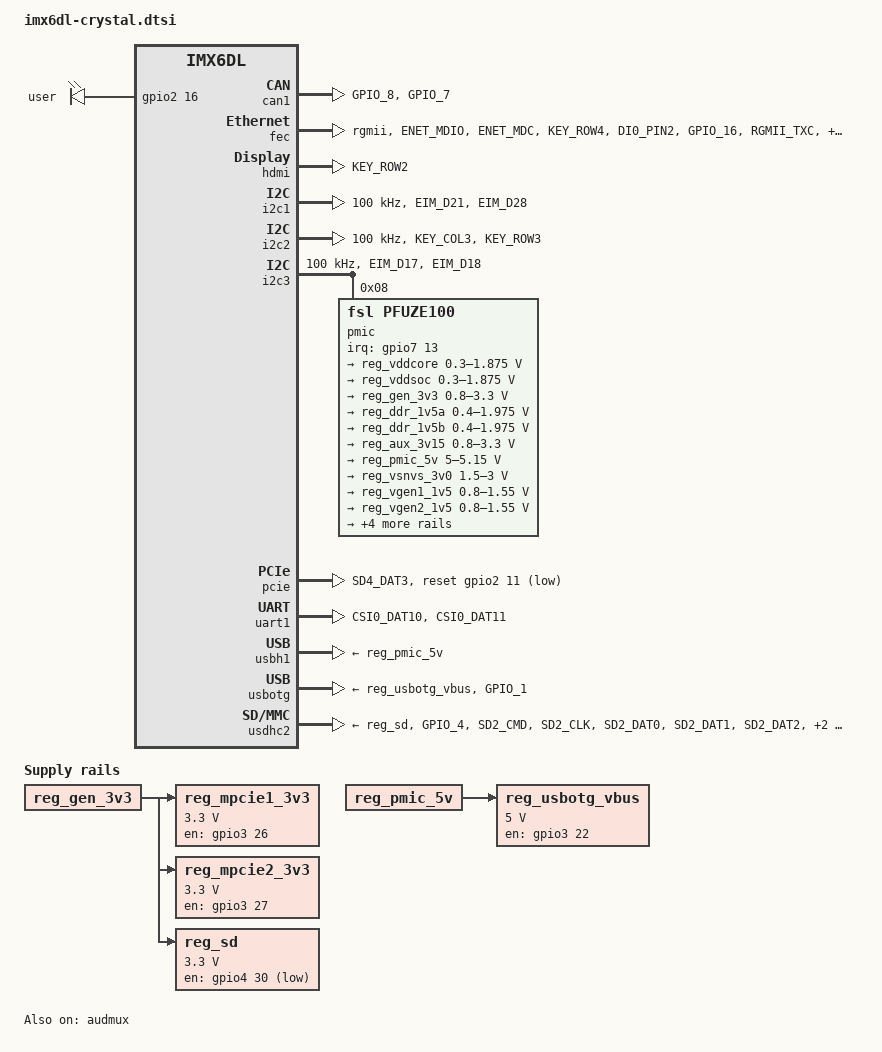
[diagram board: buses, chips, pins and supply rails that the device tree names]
/*
 * Device Tree file for Vitro Crystal 2 board
 * Copyright (C) 2017 Maciej Pijanowski <maciej.pijanowski@3mdeb.com>
 * Based on work by Russell King and Rabeeh Khoury for Hummingboard
 *
 * This file is dual-licensed: you can use it either under the terms
 * of the GPL or the X11 license, at your option. Note that this dual
 * licensing only applies to this file, and not this project as a
 * whole.
 *
 *  a) This file is free software; you can redistribute it and/or
 *     modify it under the terms of the GNU General Public License as
 *     published by the Free Software Foundation; either version 2 of the
 *     License.
 *
 *     This file is distributed in the hope that it will be useful
 *     but WITHOUT ANY WARRANTY; without even the implied warranty of
 *     MERCHANTABILITY or FITNESS FOR A PARTICULAR PURPOSE.  See the
 *     GNU General Public License for more details.
 *
 * Or, alternatively
 *
 *  b) Permission is hereby granted, free of charge, to any person
 *     obtaining a copy of this software and associated documentation
 *     files (the "Software"), to deal in the Software without
 *     restriction, including without limitation the rights to use
 *     copy, modify, merge, publish, distribute, sublicense, and/or
 *     sell copies of the Software, and to permit persons to whom the
 *     Software is furnished to do so, subject to the following
 *     conditions:
 *
 *     The above copyright notice and this permission notice shall be
 *     included in all copies or substantial portions of the Software.
 *
 *     THE SOFTWARE IS PROVIDED , WITHOUT WARRANTY OF ANY KIND
 *     EXPRESS OR IMPLIED, INCLUDING BUT NOT LIMITED TO THE WARRANTIES
 *     OF MERCHANTABILITY, FITNESS FOR A PARTICULAR PURPOSE AND
 *     NONINFRINGEMENT. IN NO EVENT SHALL THE AUTHORS OR COPYRIGHT
 *     HOLDERS BE LIABLE FOR ANY CLAIM, DAMAGES OR OTHER LIABILITY
 *     WHETHER IN AN ACTION OF CONTRACT, TORT OR OTHERWISE, ARISING
 *     FROM, OUT OF OR IN CONNECTION WITH THE SOFTWARE OR THE USE OR
 *     OTHER DEALINGS IN THE SOFTWARE.
 */
#include <dt-bindings/gpio/gpio.h>
#include <dt-bindings/interrupt-controller/irq.h>

/ {
	chosen {
		stdout-path = &uart1;
	};

	leds {
		compatible = "gpio-leds";
		pinctrl-names = "default";
		pinctrl-0 = <&pinctrl_crystal_gpio_led>;

		led0: user1 {
			label = "user";
			gpios = <&gpio2 16 GPIO_ACTIVE_HIGH>;
			default-state = "on";
			linux,default-trigger = "heartbeat";
		};
	};

	regulators {
		compatible = "simple-bus";
		#address-cells = <1>;
		#size-cells = <0>;

		reg_mpcie1_3v3: regulator-mpcie1-3v3 {
			compatible = "regulator-fixed";
			enable-active-high;
			gpio = <&gpio3 26 GPIO_ACTIVE_HIGH>;
			pinctrl-names = "default";
			pinctrl-0 = <&pinctrl_crystal_reg_mpcie1>;
			regulator-max-microvolt = <3300000>;
			regulator-min-microvolt = <3300000>;
			regulator-name = "reg_mpcie1_3v3";
			regulator-always-on;
			vin-supply = <&reg_gen_3v3>;
		};

		reg_mpcie2_3v3: regulator-mpcie2-3v3 {
			compatible = "regulator-fixed";
			enable-active-high;
			gpio = <&gpio3 27 GPIO_ACTIVE_HIGH>;
			pinctrl-names = "default";
			pinctrl-0 = <&pinctrl_crystal_reg_mpcie2>;
			regulator-max-microvolt = <3300000>;
			regulator-min-microvolt = <3300000>;
			regulator-name = "reg_mpcie2_3v3";
			regulator-always-on;
			vin-supply = <&reg_gen_3v3>;
		};

		reg_usbotg_vbus: regulator-usbotg-vbus {
			compatible = "regulator-fixed";
			enable-active-high;
			gpio = <&gpio3 22 GPIO_ACTIVE_HIGH>;
			pinctrl-names = "default";
			pinctrl-0 = <&pinctrl_crystal_reg_usbotg>;
			regulator-max-microvolt = <5000000>;
			regulator-min-microvolt = <5000000>;
			regulator-name = "reg_usbotg_vbus";
			vin-supply = <&reg_pmic_5v>;
		};

		reg_sd: regulator-sd {
			compatible = "regulator-fixed";
			/* SD2_PWR_EN << PWM2_OUT << DISP0_DAT9(GPIO4_IO30) */
			gpio = <&gpio4 30 GPIO_ACTIVE_HIGH>;
			pinctrl-names = "default";
			pinctrl-0 = <&pinctrl_crystal_reg_sd>;
			regulator-boot-on;
			regulator-max-microvolt = <3300000>;
			regulator-min-microvolt = <3300000>;
			regulator-name = "reg_sd";
			startup-delay-us = <1000>;
			vin-supply = <&reg_gen_3v3>;
		};
	};
};

&audmux {
	status = "okay";
};

&can1 {
      pinctrl-names = "default";
      pinctrl-0 = <&pinctrl_crystal_flexcan1>;
      status = "okay";
};

&fec {
	pinctrl-names = "default";
	pinctrl-0 = <&pinctrl_crystal_enet_ar8035>;
	phy-mode = "rgmii";
	phy-reset-duration = <2>;
	phy-reset-gpios = <&gpio4 15 GPIO_ACTIVE_LOW>;
	status = "okay";
};

&hdmi {
	pinctrl-names = "default";
	pinctrl-0 = <&pinctrl_crystal_hdmi>;
	ddc-i2c-bus = <&i2c2>;
	status = "okay";
};

&i2c1 {
	clock-frequency = <100000>;
	pinctrl-names = "default";
	pinctrl-0 = <&pinctrl_crystal_i2c1>;
	status = "okay";
};

&i2c2 {
	clock-frequency = <100000>;
	pinctrl-names = "default";
	pinctrl-0 = <&pinctrl_crystal_i2c2>;
	status = "okay";
};

&i2c3 {
	clock-frequency = <100000>;
	pinctrl-names = "default";
	pinctrl-0 = <&pinctrl_crystal_i2c3>;
	status = "okay";

	pmic: pf0100@08 {
		compatible = "fsl,pfuze100";
		/* 0x08 is the default addr of MMPF0100 IC. It can be
		 * programmed  from 0x08 to 0x0F via OTP (On Time
		 * programmability) functionality */
		reg = <0x08>;
		/* INT pin of MMPF0100 IC is routed as PMIC_INT_B signal and
		 * connected to GPIO_18 (GPIO7_IO13 muxed to ALT5) */
		interrupt-parent = <&gpio7>;
		/* first cell is pin number, second cell is interrupt mode */
		interrupts = <13 IRQ_TYPE_LEVEL_LOW>;

		regulators {
			/* VDDCORE voltage rail */
			reg_vddcore: sw1ab {
				regulator-min-microvolt = <300000>;
				regulator-max-microvolt = <1875000>;
				regulator-always-on;
				regulator-boot-on;
			};

			/* VDDSOC voltage rail */
			reg_vddsoc: sw1c {
				regulator-min-microvolt = <300000>;
				regulator-max-microvolt = <1875000>;
				regulator-always-on;
				regulator-boot-on;
			};

			/* GEN_3V3 voltage rail */
			reg_gen_3v3: sw2 {
				regulator-min-microvolt = <800000>;
				regulator-max-microvolt = <3300000>;
				regulator-always-on;
				regulator-boot-on;
			};

			/* DDR_1V5 voltage rail */
			reg_ddr_1v5a: sw3a {
				regulator-min-microvolt = <400000>;
				regulator-max-microvolt = <1975000>;
				regulator-always-on;
				regulator-boot-on;
			};

			/* DDR_1V5 voltage rail */
			reg_ddr_1v5b: sw3b {
				regulator-min-microvolt = <400000>;
				regulator-max-microvolt = <1975000>;
				regulator-always-on;
				regulator-boot-on;
			};

			/* AUX_3V15 voltage rail */
			/* alternate supply for MX6 power domain (VDDHIGH) */
			reg_aux_3v15: sw4 {
				regulator-min-microvolt = <800000>;
				regulator-max-microvolt = <3300000>;
				regulator-always-on;
			};

			/* PMIC_5V voltage rail */
			/* 5V supply for HDMI and USB OTG */
			reg_pmic_5v: swbst {
				regulator-min-microvolt = <5000000>;
				regulator-max-microvolt = <5150000>;
			};

			/* VSNVS_3V0 voltage rail */
			reg_vsnvs_3v0: vsnvs {
				regulator-min-microvolt = <1500000>;
				regulator-max-microvolt = <3000000>;
				regulator-always-on;
				regulator-boot-on;
			};

			/* DDR_VREF voltage rail */
			reg_ddr_vref: vrefddr {
				regulator-boot-on;
				regulator-always-on;
			};

			/* VGEN1_1V5 voltage rail */
			/* 1.5V supply for mPCIe */
			reg_vgen1_1v5: vgen1 {
				regulator-min-microvolt = <800000>;
				regulator-max-microvolt = <1550000>;
				regulator-always-on;
			};

			/* VGEN1_1V5 voltage rail */
			/* 1.5V supply for mPCIe */
			reg_vgen2_1v5: vgen2 {
				regulator-min-microvolt = <800000>;
				regulator-max-microvolt = <1550000>;
				regulator-always-on;
			};

			/* VGEN3_2V5 voltage rail */
			/* not used */
			reg_vgen3_2v5: vgen3 {
				regulator-min-microvolt = <1800000>;
				regulator-max-microvolt = <3300000>;
			};

			/* VGEN1_1V8 voltage rail */
			/* used by UART level shifter SN74 IC, also by NVCC
			 * power group */
			reg_vgen4_1v8: vgen4 {
				regulator-min-microvolt = <1800000>;
				regulator-max-microvolt = <3300000>;
				regulator-always-on;
			};

			/* VGEN5_2V8 voltage rail */
			/* used by MX6 power domain (VDDHIGH) */
			reg_vgen5_2v8: vgen5 {
				regulator-min-microvolt = <1800000>;
				regulator-max-microvolt = <3300000>;
				regulator-always-on;
			};

			/* VGEN5_3V3 voltage rail */
			/* shorted to ETH_3V3 rail */
			reg_vgen6_3v3: vgen6 {
				regulator-min-microvolt = <1800000>;
				regulator-max-microvolt = <3300000>;
				regulator-always-on;
			};
		};
	};
};

&iomuxc {
	pinctrl-names = "default";
	pinctrl-0 = <&pinctrl_hog>;

	crystal {
		pinctrl_crystal_gpio_led: crystal-gpio-led {
			fsl,pins = <
				/* USR_DEF_RED_LED */
				MX6QDL_PAD_EIM_A22__GPIO2_IO16 0x130b1
			>;
		};

		pinctrl_crystal_enet_ar8035: crystal-enet-ar8035 {
			fsl,pins = <
				MX6QDL_PAD_ENET_MDIO__ENET_MDIO		0x1b8b0
				MX6QDL_PAD_ENET_MDC__ENET_MDC		0x1b0b0
				/* AR8035 reset */
				MX6QDL_PAD_KEY_ROW4__GPIO4_IO15		0x130b0
				/* AR8035 interrupt */
				MX6QDL_PAD_DI0_PIN2__GPIO4_IO18		0x80000000
				/* GPIO16 -> AR8035 25MHz */
				MX6QDL_PAD_GPIO_16__ENET_REF_CLK	0xc0000000
				MX6QDL_PAD_RGMII_TXC__RGMII_TXC		0x80000000
				MX6QDL_PAD_RGMII_TD0__RGMII_TD0		0x1b030
				MX6QDL_PAD_RGMII_TD1__RGMII_TD1		0x1b030
				MX6QDL_PAD_RGMII_TD2__RGMII_TD2		0x1b030
				MX6QDL_PAD_RGMII_TD3__RGMII_TD3		0x1b030
				MX6QDL_PAD_RGMII_TX_CTL__RGMII_TX_CTL	0x1b030
				/* AR8035 CLK_25M --> ENET_REF_CLK (V22) */
				MX6QDL_PAD_ENET_REF_CLK__ENET_TX_CLK	0x0a0b1
				/* AR8035 pin strapping: IO voltage: pull up */
				MX6QDL_PAD_RGMII_RXC__RGMII_RXC		0x1b030
				/* AR8035 pin strapping: PHYADDR#0: pull down */
				MX6QDL_PAD_RGMII_RD0__RGMII_RD0		0x13030
				/* AR8035 pin strapping: PHYADDR#1: pull down */
				MX6QDL_PAD_RGMII_RD1__RGMII_RD1		0x13030
				/* AR8035 pin strapping: MODE#1: pull up */
				MX6QDL_PAD_RGMII_RD2__RGMII_RD2		0x1b030
				/* AR8035 pin strapping: MODE#3: pull up */
				MX6QDL_PAD_RGMII_RD3__RGMII_RD3		0x1b030
				/* AR8035 pin strapping: MODE#0: pull down */
				MX6QDL_PAD_RGMII_RX_CTL__RGMII_RX_CTL	0x13030
				/*
				 * As the RMII pins are also connected to RGMII
				 * so that an AR8030 can be placed, set these
				 * to high-z with the same pulls as above.
				 * Use the GPIO settings to avoid changing the
				 * input select registers.
				 */
				MX6QDL_PAD_ENET_CRS_DV__GPIO1_IO25	0x03000
				MX6QDL_PAD_ENET_RXD0__GPIO1_IO27	0x03000
				MX6QDL_PAD_ENET_RXD1__GPIO1_IO26	0x03000
			>;
		};

		pinctrl_crystal_flexcan1: crystal-flexcan1 {
			fsl,pins = <
				MX6QDL_PAD_GPIO_8__FLEXCAN1_RX 0x80000000
				MX6QDL_PAD_GPIO_7__FLEXCAN1_TX 0x80000000
			>;
		};

		pinctrl_crystal_hdmi: crystal-hdmi {
			fsl,pins = <
				MX6QDL_PAD_KEY_ROW2__HDMI_TX_CEC_LINE 0x1f8b0
			>;
		};

		pinctrl_crystal_i2c1: crystal-i2c1 {
			fsl,pins = <
				MX6QDL_PAD_EIM_D21__I2C1_SCL 0x4001b8b1
				MX6QDL_PAD_EIM_D28__I2C1_SDA 0x4001b8b1
			>;
		};

		pinctrl_crystal_i2c2: crystal-i2c2 {
			fsl,pins = <
				MX6QDL_PAD_KEY_COL3__I2C2_SCL 0x4001b8b1
				MX6QDL_PAD_KEY_ROW3__I2C2_SDA 0x4001b8b1
			>;
		};

		pinctrl_crystal_i2c3: crystal-i2c3 {
			fsl,pins = <
				MX6QDL_PAD_EIM_D17__I2C3_SCL 0x4001b8b1
				MX6QDL_PAD_EIM_D18__I2C3_SDA 0x4001b8b1
			>;
		};

		pinctrl_crystal_pcie_reset: crsytal-pcie-reset {
			fsl,pins = <
				MX6QDL_PAD_SD4_DAT3__GPIO2_IO11 0x1b0b1
			>;
		};

		pinctrl_crystal_reg_mpcie1: crystal-reg-mpcie1 {
			fsl,pins = <
				/* 0x1b0b0:
				 * hysteresis enabled, 100K pull up, medium
				 * speed (100MHz), 43_OHM Drive Strength,
				 * Slow Slew Rate */
			       MX6QDL_PAD_EIM_D26__GPIO3_IO26  0x1b0b0
			>;
		};

		pinctrl_crystal_reg_mpcie2: crystal-reg-mpcie2 {
			fsl,pins = <
				MX6QDL_PAD_EIM_D27__GPIO3_IO27  0x1b0b0
			>;
		};

		pinctrl_crystal_reg_sd: crystal-reg-sd {
			fsl,pins = <
				MX6QDL_PAD_DISP0_DAT9__GPIO4_IO30 0x1b0b0
			>;
		};

		pinctrl_crystal_reg_usbotg: crystal-reg-usbotg {
			fsl,pins = <MX6QDL_PAD_EIM_D22__GPIO3_IO22 0x1b0b0>;
		};

		pinctrl_crystal_uart1: crystal-uart1 {
			fsl,pins = <
				MX6QDL_PAD_CSI0_DAT10__UART1_TX_DATA	0x1b0b1
				MX6QDL_PAD_CSI0_DAT11__UART1_RX_DATA	0x1b0b1
			>;
		};

		pinctrl_crystal_usbotg_id: crystal-usbotg-id {
			 /* pulled down for a fixed host connection */
			fsl,pins = <MX6QDL_PAD_GPIO_1__USB_OTG_ID 0x13059>;
		};

		pinctrl_crystal_usdhc2_cd: crystal-usdhc2-cd {
			fsl,pins = <
				/* card detect */
				MX6QDL_PAD_GPIO_4__GPIO1_IO04	 0x1f071
				/* SD2_VSELECT is not connected (TP32)*/
			>;
		};

		pinctrl_crystal_usdhc2: crystal-usdhc2 {
			fsl,pins = <
				MX6QDL_PAD_SD2_CMD__SD2_CMD    0x17059
				MX6QDL_PAD_SD2_CLK__SD2_CLK    0x10059
				MX6QDL_PAD_SD2_DAT0__SD2_DATA0 0x17059
				MX6QDL_PAD_SD2_DAT1__SD2_DATA1 0x17059
				MX6QDL_PAD_SD2_DAT2__SD2_DATA2 0x17059
				MX6QDL_PAD_SD2_DAT3__SD2_DATA3 0x13059
			>;
		};

		pinctrl_crystal_usdhc2_100mhz: crystal-usdhc2-100mhz {
			fsl,pins = <
				MX6QDL_PAD_SD2_CMD__SD2_CMD    0x170b9
				MX6QDL_PAD_SD2_CLK__SD2_CLK    0x100b9
				MX6QDL_PAD_SD2_DAT0__SD2_DATA0 0x170b9
				MX6QDL_PAD_SD2_DAT1__SD2_DATA1 0x170b9
				MX6QDL_PAD_SD2_DAT2__SD2_DATA2 0x170b9
				MX6QDL_PAD_SD2_DAT3__SD2_DATA3 0x130b9
			>;
		};

		pinctrl_crystal_usdhc2_200mhz: crystal-usdhc2-200mhz {
			fsl,pins = <
				MX6QDL_PAD_SD2_CMD__SD2_CMD    0x170f9
				MX6QDL_PAD_SD2_CLK__SD2_CLK    0x100f9
				MX6QDL_PAD_SD2_DAT0__SD2_DATA0 0x170f9
				MX6QDL_PAD_SD2_DAT1__SD2_DATA1 0x170f9
				MX6QDL_PAD_SD2_DAT2__SD2_DATA2 0x170f9
				MX6QDL_PAD_SD2_DAT3__SD2_DATA3 0x130f9
			>;
		};
	};
};

&pcie {
	pinctrl-names = "default";
	pinctrl-0 = <&pinctrl_crystal_pcie_reset>;
	reset-gpio = <&gpio2 11 GPIO_ACTIVE_LOW>;
	status = "okay";
};

&uart1 {
	pinctrl-names = "default";
	pinctrl-0 = <&pinctrl_crystal_uart1>;
	status = "okay";
};

&usbh1 {
	disable-over-current;
	vbus-supply = <&reg_pmic_5v>;
	status = "okay";
};

&usbotg {
	disable-over-current;
	pinctrl-names = "default";
	pinctrl-0 = <&pinctrl_crystal_usbotg_id>;
	vbus-supply = <&reg_usbotg_vbus>;
	status = "okay";
};

&usdhc2 {
	pinctrl-names = "default", "state_100mhz", "state_200mhz";
	pinctrl-0 = <
		&pinctrl_crystal_usdhc2_cd
		&pinctrl_crystal_usdhc2
	>;
	pinctrl-1 = <
		&pinctrl_crystal_usdhc2_cd
		&pinctrl_crystal_usdhc2_100mhz
	>;
	pinctrl-2 = <
		&pinctrl_crystal_usdhc2_cd
		&pinctrl_crystal_usdhc2_200mhz
	>;
	vmmc-supply = <&reg_sd>;
	cd-gpios = <&gpio1 4 GPIO_ACTIVE_LOW>;
	status = "okay";
};
